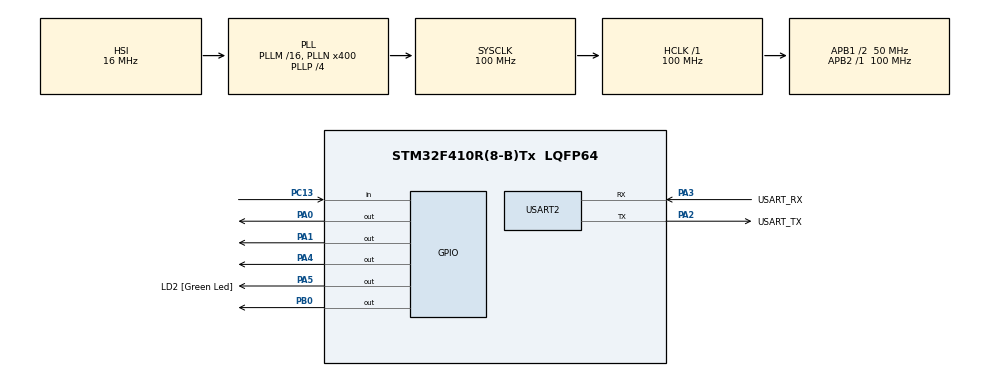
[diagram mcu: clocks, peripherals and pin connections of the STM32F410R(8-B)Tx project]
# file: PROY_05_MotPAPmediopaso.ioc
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Mcu.Family=STM32F4
Mcu.Name=STM32F410R(8-B)Tx
Mcu.Package=LQFP64
NVIC.PriorityGroup=NVIC_PRIORITYGROUP_0
PA0-WKUP.Signal=GPIO_Output
PA1.Signal=GPIO_Output
PA13.GPIO_Label=TMS
PA13.Mode=Serial_Wire
PA13.Signal=SYS_JTMS-SWDIO
PA14.GPIO_Label=TCK
PA14.Mode=Serial_Wire
PA14.Signal=SYS_JTCK-SWCLK
PA2.GPIO_Label=USART_TX
PA2.Mode=Asynchronous
PA2.Signal=USART2_TX
PA3.GPIO_Label=USART_RX
PA3.Mode=Asynchronous
PA3.Signal=USART2_RX
PA4.Signal=GPIO_Output
PA5.GPIO_Label=LD2 [Green Led]
PA5.Signal=GPIO_Output
PB0.Signal=GPIO_Output
PB3.GPIO_Label=SWO
PB3.Signal=SYS_JTDO-SWO
PC13-ANTI_TAMP.Signal=GPIO_Input
PC14-OSC32_IN.Mode=LSE-External-Oscillator
PC14-OSC32_IN.Signal=RCC_OSC32_IN
PC15-OSC32_OUT.Mode=LSE-External-Oscillator
PC15-OSC32_OUT.Signal=RCC_OSC32_OUT
PH0\ -\ OSC_IN.Mode=HSE-External-Clock-Source
PH0\ -\ OSC_IN.Signal=RCC_OSC_IN
PH1\ -\ OSC_OUT.Mode=HSE-External-Clock-Source
PH1\ -\ OSC_OUT.Signal=RCC_OSC_OUT
ProjectManager.HeapSize=0x200
ProjectManager.StackSize=0x400
ProjectManager.TargetToolchain=STM32CubeIDE
RCC.48MHZClocksFreq_Value=100000000
RCC.AHBFreq_Value=100000000
RCC.APB1CLKDivider=RCC_HCLK_DIV2
RCC.APB1Freq_Value=50000000
RCC.APB1TimFreq_Value=100000000
RCC.APB2Freq_Value=100000000
RCC.APB2TimFreq_Value=100000000
RCC.CortexFreq_Value=100000000
RCC.FLatency-AdvancedSettings=FLASH_LATENCY_3
RCC.HCLKFreq_Value=100000000
RCC.HSE_VALUE=8000000
RCC.HSI_VALUE=16000000
RCC.PLLN=400
RCC.PLLP=RCC_PLLP_DIV4
RCC.SYSCLKFreq_VALUE=100000000
RCC.SYSCLKSource=RCC_SYSCLKSOURCE_PLLCLK
RCC.VCOOutputFreq_Value=400000000
USART2.VirtualMode=VM_ASYNC
board=NUCLEO-F410RB

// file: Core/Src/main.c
/* Practica 5 - Motor a pasos unipolar secuencia de medio paso

  Equipo:
  Antonio Yañez Hernandez
  Cristopher Rodrigues Perez
  Jesus Roberto Hernandez Benitez

  Pines Usados para Configurar:
  PIN_A0, PIN_A1, PIN_A4, PC13-input Y PIN_B0

  Descripcion:
Usa la tarjeta STM32 para enviarle pulsos a un motor activando dos de sus bobinas al mismo tiempo.
Al hacerlo de dos en dos, logramos que el motor avance en pasos súper precisos,
cambiando de dirección según le movamos en al código.
*/
/* USER CODE END Header */
#include "main.h"

UART_HandleTypeDef huart2;

/* USER CODE BEGIN PV */
uint16_t retardo;
uint16_t contador1;
uint16_t contador2;
uint8_t i;
static const uint8_t estado1[4][4]={
		{1, 0, 0, 0},
		{0, 1, 0, 0},
		{0, 0, 1, 0},
		{0, 0, 0, 1},
};

static const uint8_t estado2[4][4]={
		{1, 0, 0, 0},
		{0, 0, 0, 1},
		{0, 0, 1, 0},
		{0, 1, 0, 0},
};

static const uint8_t estado3[8][4]={
		{1, 0, 0, 0},
		{1, 1, 0, 0},
		{0, 1, 0, 0},
		{0, 1, 1, 0},
		{0, 0, 1, 0},
		{0, 0, 1, 1},
		{0, 0, 0, 1},
};

static const uint8_t estado4[8][4]={
		{1, 0, 0, 0},
		{1, 0, 0, 1},
		{0, 0, 0, 1},
		{0, 0, 1, 1},
		{0, 0, 1, 0},
		{0, 1, 1, 0},
		{0, 1, 0, 0},
		{1, 1, 0, 0},
};

/* USER CODE END PV */

void SystemClock_Config(void);
static void MX_GPIO_Init(void);
static void MX_USART2_UART_Init(void);

int main(void)
{

  /* USER CODE BEGIN 1 */
	retardo = 10;
    contador1 = 0;
    contador2 = 0;
  /* USER CODE END 1 */

  /* MCU Configuration--------------------------------------------------------*/

  /* Reset of all peripherals, Initializes the Flash interface and the Systick. */
  HAL_Init();

  /* Configure the system clock */
  SystemClock_Config();

  /* Initialize all configured peripherals */
  MX_GPIO_Init();
  MX_USART2_UART_Init();

  /* Infinite loop */
  /* USER CODE BEGIN WHILE */
  while (1)
  {
	/*  if(HAL_GPIO_ReadPin(GPIOC, GPIO_PIN_13)==1)
	  {
		  for(i=0;i<4;i++)
		  	  {
		  		  HAL_GPIO_WritePin(GPIOA, GPIO_PIN_0, estado1[i][0]); //define cada estado
		  		  HAL_GPIO_WritePin(GPIOA, GPIO_PIN_1, estado1[i][1]);
		  		  HAL_GPIO_WritePin(GPIOA, GPIO_PIN_4, estado1[i][2]);
		  		  HAL_GPIO_WritePin(GPIOB, GPIO_PIN_0, estado1[i][3]);
		  		  HAL_Delay(retardo);
		  	  }
	  }
	  else
	  {
		  for(i=0;i<4;i++)
		  	  {
		  		  HAL_GPIO_WritePin(GPIOA, GPIO_PIN_0, estado2[i][0]); //define cada estado
		  		  HAL_GPIO_WritePin(GPIOA, GPIO_PIN_1, estado2[i][1]);
		  		  HAL_GPIO_WritePin(GPIOA, GPIO_PIN_4, estado2[i][2]);
		  		  HAL_GPIO_WritePin(GPIOB, GPIO_PIN_0, estado2[i][3]);
		  		  HAL_Delay(retardo);
		  	  }
	  } */

	  if(HAL_GPIO_ReadPin(GPIOC, GPIO_PIN_13)==1)
	 	  {
	 		  for (i=0; i<8; i++)
	 		  {
	 			  HAL_GPIO_WritePin(GPIOA, GPIO_PIN_0, estado3[i][0]);
	 			  HAL_GPIO_WritePin(GPIOA, GPIO_PIN_1, estado3[i][1]);
	 			  HAL_GPIO_WritePin(GPIOA, GPIO_PIN_4, estado3[i][2]);
	 			  HAL_GPIO_WritePin(GPIOB, GPIO_PIN_0, estado3[i][3]);
	 			  HAL_Delay(retardo);
	 			  contador1++;
	 		  }
	 	  }
	 	  else
	 	  {
	 		  for (i=0; i<8; i++)
	 		  {
	 			  HAL_GPIO_WritePin(GPIOA, GPIO_PIN_0, estado4[i][0]);
	 			  HAL_GPIO_WritePin(GPIOA, GPIO_PIN_1, estado4[i][1]);
	 			  HAL_GPIO_WritePin(GPIOA, GPIO_PIN_4, estado4[i][2]);
	 			  HAL_GPIO_WritePin(GPIOB, GPIO_PIN_0, estado4[i][3]);
	 			  HAL_Delay(retardo);
	 		  }
	 		  contador2++;
	 	  }

    /* USER CODE END WHILE */

  }
}

void SystemClock_Config(void)
{
  RCC_OscInitTypeDef RCC_OscInitStruct = {0};
  RCC_ClkInitTypeDef RCC_ClkInitStruct = {0};

  /** Configure the main internal regulator output voltage
  */
  __HAL_RCC_PWR_CLK_ENABLE();
  __HAL_PWR_VOLTAGESCALING_CONFIG(PWR_REGULATOR_VOLTAGE_SCALE1);

  /** Initializes the RCC Oscillators according to the specified parameters
  * in the RCC_OscInitTypeDef structure.
  */
  RCC_OscInitStruct.OscillatorType = RCC_OSCILLATORTYPE_HSI;
  RCC_OscInitStruct.HSIState = RCC_HSI_ON;
  RCC_OscInitStruct.HSICalibrationValue = RCC_HSICALIBRATION_DEFAULT;
  RCC_OscInitStruct.PLL.PLLState = RCC_PLL_ON;
  RCC_OscInitStruct.PLL.PLLSource = RCC_PLLSOURCE_HSI;
  RCC_OscInitStruct.PLL.PLLM = 16;
  RCC_OscInitStruct.PLL.PLLN = 400;
  RCC_OscInitStruct.PLL.PLLP = RCC_PLLP_DIV4;
  RCC_OscInitStruct.PLL.PLLQ = 4;
  RCC_OscInitStruct.PLL.PLLR = 2;
  if (HAL_RCC_OscConfig(&RCC_OscInitStruct) != HAL_OK)
  {
    Error_Handler();
  }

  /** Initializes the CPU, AHB and APB buses clocks
  */
  RCC_ClkInitStruct.ClockType = RCC_CLOCKTYPE_HCLK|RCC_CLOCKTYPE_SYSCLK
                              |RCC_CLOCKTYPE_PCLK1|RCC_CLOCKTYPE_PCLK2;
  RCC_ClkInitStruct.SYSCLKSource = RCC_SYSCLKSOURCE_PLLCLK;
  RCC_ClkInitStruct.AHBCLKDivider = RCC_SYSCLK_DIV1;
  RCC_ClkInitStruct.APB1CLKDivider = RCC_HCLK_DIV2;
  RCC_ClkInitStruct.APB2CLKDivider = RCC_HCLK_DIV1;

  if (HAL_RCC_ClockConfig(&RCC_ClkInitStruct, FLASH_LATENCY_3) != HAL_OK)
  {
    Error_Handler();
  }
}

static void MX_USART2_UART_Init(void)
{

  huart2.Instance = USART2;
  huart2.Init.BaudRate = 115200;
  huart2.Init.WordLength = UART_WORDLENGTH_8B;
  huart2.Init.StopBits = UART_STOPBITS_1;
  huart2.Init.Parity = UART_PARITY_NONE;
  huart2.Init.Mode = UART_MODE_TX_RX;
  huart2.Init.HwFlowCtl = UART_HWCONTROL_NONE;
  huart2.Init.OverSampling = UART_OVERSAMPLING_16;
  if (HAL_UART_Init(&huart2) != HAL_OK)
  {
    Error_Handler();
  }

}

static void MX_GPIO_Init(void)
{
  GPIO_InitTypeDef GPIO_InitStruct = {0};

  /* GPIO Ports Clock Enable */
  __HAL_RCC_GPIOC_CLK_ENABLE();
  __HAL_RCC_GPIOH_CLK_ENABLE();
  __HAL_RCC_GPIOA_CLK_ENABLE();
  __HAL_RCC_GPIOB_CLK_ENABLE();

  /*Configure GPIO pin Output Level */
  HAL_GPIO_WritePin(GPIOA, GPIO_PIN_0|GPIO_PIN_1|GPIO_PIN_4|LD2_Pin, GPIO_PIN_RESET);

  /*Configure GPIO pin Output Level */
  HAL_GPIO_WritePin(GPIOB, GPIO_PIN_0, GPIO_PIN_RESET);

  /*Configure GPIO pin : PC13 */
  GPIO_InitStruct.Pin = GPIO_PIN_13;
  GPIO_InitStruct.Mode = GPIO_MODE_INPUT;
  GPIO_InitStruct.Pull = GPIO_NOPULL;
  HAL_GPIO_Init(GPIOC, &GPIO_InitStruct);

  /*Configure GPIO pins : PA0 PA1 PA4 LD2_Pin */
  GPIO_InitStruct.Pin = GPIO_PIN_0|GPIO_PIN_1|GPIO_PIN_4|LD2_Pin;
  GPIO_InitStruct.Mode = GPIO_MODE_OUTPUT_PP;
  GPIO_InitStruct.Pull = GPIO_NOPULL;
  GPIO_InitStruct.Speed = GPIO_SPEED_FREQ_LOW;
  HAL_GPIO_Init(GPIOA, &GPIO_InitStruct);

  /*Configure GPIO pin : PB0 */
  GPIO_InitStruct.Pin = GPIO_PIN_0;
  GPIO_InitStruct.Mode = GPIO_MODE_OUTPUT_PP;
  GPIO_InitStruct.Pull = GPIO_NOPULL;
  GPIO_InitStruct.Speed = GPIO_SPEED_FREQ_LOW;
  HAL_GPIO_Init(GPIOB, &GPIO_InitStruct);

}

void Error_Handler(void)
{
  __disable_irq();
  while (1)
  {
  }
}
